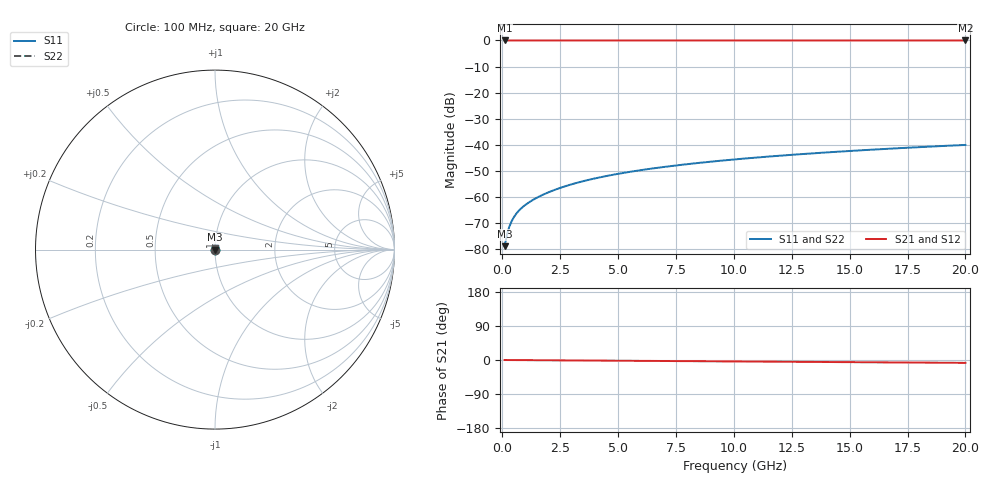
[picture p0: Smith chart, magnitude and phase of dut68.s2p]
! Touchstone file exported from HFSS 2026.1.0
!  File:  C:/ffzhzh/LocalFiles/Ansys_Project_Files/temp_train_TSV_68_1782959186_45308.aedt
!  Generated:  10:27:45 AM Jul  2, 2026
!  Design:  TSV
!  Project:  temp_train_TSV_68_1782959186_45308
! Variables:
!  h_bsmrdl = 2um
!  h_ox = 20um
!  h_rdl = 5um
!  h_sub = 71.45um
!  h_tmrdl = 5um
!  h_tsv = 71.45um
!  h_via = 3um
!  l_bsmrdl = 300um
!  l_sub = 426.7um
!  l_tmrdl = 200um
!  m_sub = 200um
!  pitch = 57.35um
!  r_tsv = 13.35um
!  s_tmrdl = 10um
!  w_bsmrdl = 18um
!  w_sub = 500um
!  w_tmrdl = 12um
!  x_tsv_center1 = 206um
!  x_tsv_center2 = 524um
!  x_tsv_center3 = 736um
!  x_tsv_center4 = 1054um
!  x_tsv_center5 = 1266um
!  x_tsv_center6 = 1584um
# GHz S MA R 50.000000
! Terminal data exported
! Port[1] = TSV1_1_T1
! Port[2] = TSV1_1_T2
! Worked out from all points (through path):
!   200 points, 100 MHz to 20 GHz, reference 50 ohm
!   highest |S21| = 0.00 dB at 100 MHz (marker M1); lowest = 0.0 dB at 20 GHz (marker M2)
!   group delay of S21, straight-line fit = 1.05 ps
!   lowest |S11| = -78.8 dB at 100 MHz (marker M3), VSWR 1.00, Z = 50 + j0.00861 ohm
!   |S11| at or under -10 dB: start of sweep to end of sweep
!   |S22| runs from -78.8 to -40.0 dB; largest |S21 - S12| = 2.5e-15
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0.1  0.0001147 48.6  0.9999 -0.0  0.9999 -0.0  0.0001147 48.6
! Gamma 0 0 0 0
! Port Impedance 50 0 50 0
0.2  0.0001904 62.7  0.9999 -0.1  0.9999 -0.1  0.0001904 62.7
0.3  0.0002684 67.2  0.9999 -0.1  0.9999 -0.1  0.0002684 67.2
0.4  0.0003429 68.8  0.9999 -0.2  0.9999 -0.2  0.0003429 68.8
0.5  0.0004127 69.5  0.9999 -0.2  0.9999 -0.2  0.0004127 69.5
0.6  0.0004782 69.9  0.9998 -0.2  0.9998 -0.2  0.0004782 69.9
0.7  0.0005399 70.1  0.9998 -0.3  0.9998 -0.3  0.0005399 70.1
0.9  0.0006555 70.8  0.9998 -0.4  0.9998 -0.4  0.0006554 70.8
1.1  0.0007647 71.5  0.9998 -0.4  0.9998 -0.4  0.0007647 71.5
1.3  0.0008709 72.4  0.9997 -0.5  0.9997 -0.5  0.0008709 72.4
1.6  0.001028 73.5  0.9997 -0.6  0.9997 -0.6  0.001028 73.5
1.9  0.001185 74.6  0.9997 -0.7  0.9997 -0.7  0.001185 74.6
2.6  0.001552 76.3  0.9997 -1.0  0.9997 -1.0  0.001552 76.3
3.5  0.00202 77.5  0.9996 -1.3  0.9996 -1.3  0.00202 77.5
4.2  0.002381 78.1  0.9996 -1.6  0.9996 -1.6  0.002381 78.1
5  0.002788 78.5  0.9995 -1.9  0.9995 -1.9  0.002788 78.5
6.8  0.003687 78.9  0.9994 -2.6  0.9994 -2.6  0.003687 78.9
8.3  0.004424 79.0  0.9994 -3.2  0.9994 -3.2  0.004424 79.0
10.1  0.005298 78.9  0.9993 -3.8  0.9993 -3.8  0.005298 78.9
13.4  0.006881 78.5  0.9992 -5.1  0.9992 -5.1  0.006881 78.5
16.7  0.008441 77.9  0.9991 -6.3  0.9991 -6.3  0.008441 77.9
20  0.009971 77.0  0.999 -7.6  0.999 -7.6  0.009971 77.0
